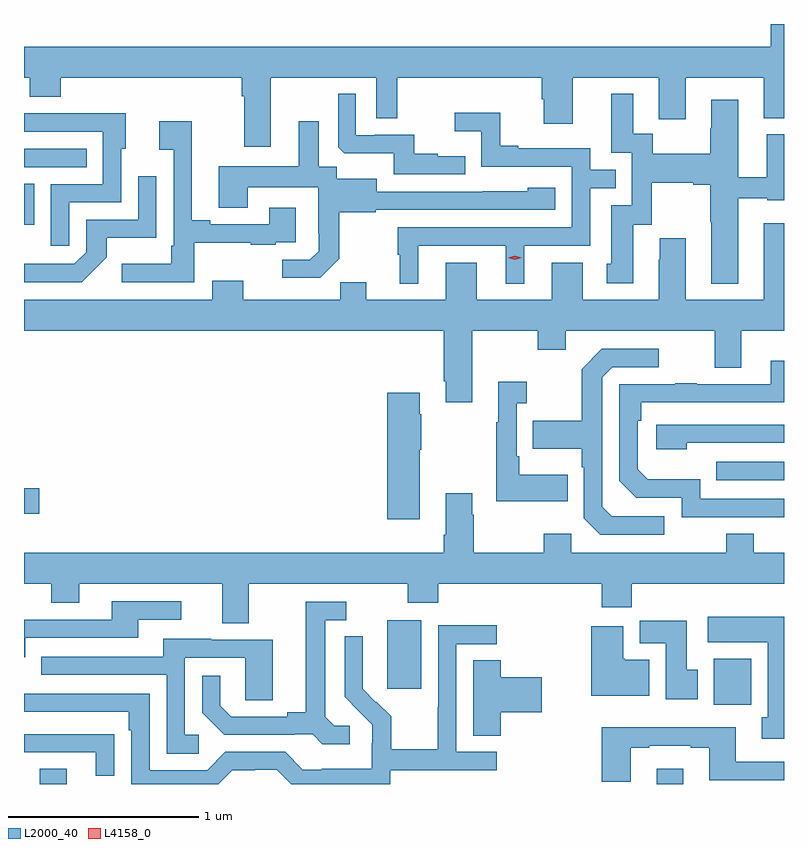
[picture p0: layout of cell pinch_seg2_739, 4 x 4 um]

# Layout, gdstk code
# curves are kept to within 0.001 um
import gdstk
lib = gdstk.Library(unit=1e-6, precision=1e-09)
def R(c, l, rs):  # rectangles x0, y0, x1, y1
    for r in rs: c.add(gdstk.rectangle(r[:2], r[2:], *l))
def P(c, l, *ps):  # polygons
    for p in ps: c.add(gdstk.Polygon(p, *l))
L2000_40 = (2000, 40)
L4158_0 = (4158, 0)

pinch_seg2_739 = lib.new_cell('pinch_seg2_739')
R(pinch_seg2_739, L2000_40, [(865.259,661.235,865.399,661.315), (868.505,661.235,868.645,661.315), (868.805,661.652,869.002,661.894), (867.086,661.737,867.265,662.098), (865.175,662.657,865.255,662.792), (868.819,662.835,869.175,662.931), (865.175,664.178,865.228,664.393), (865.175,664.482,865.505,664.578)])
P(pinch_seg2_739, L2000_40, [(866.473,664.952),(867.03,664.952),(867.03,664.738),(867.139,664.738),(867.139,664.952),(867.899,664.952),(867.899,664.839),(867.911,664.839),(867.911,664.71),(868.063,664.71),(868.063,664.952),(868.517,664.952),(868.517,664.734),(868.657,664.734),(868.657,664.952),(869.069,664.952),(869.069,664.739),(869.175,664.739),(869.175,665.235),(869.105,665.235),(869.105,665.116),(865.175,665.116),(865.175,664.952),(865.205,664.952),(865.205,664.853),(865.369,664.853),(865.369,664.952),(866.321,664.952),(866.321,664.856),(866.333,664.856),(866.333,664.59),(866.473,664.59)],
  [(867.497,664.54),(867.353,664.54),(867.353,664.552),(867.23,664.552),(867.23,664.653),(867.022,664.653),(867.022,664.65),(866.922,664.65),(866.922,664.867),(866.829,664.867),(866.829,664.587),(866.861,664.556),(867.12,664.556),(867.12,664.443),(867.497,664.443)],
  [(868.933,664.319),(869.088,664.319),(869.088,664.307),(869.175,664.307),(869.175,664.654),(869.084,664.654),(869.084,664.429),(868.933,664.429),(868.933,664.837),(868.793,664.837),(868.793,664.686),(868.786,664.686),(868.786,664.552),(868.483,664.552),(868.483,664.658),(868.381,664.658),(868.381,664.867),(868.265,664.867),(868.265,664.557),(868.374,664.557),(868.374,664.281),(868.265,664.281),(868.265,663.972),(868.241,663.972),(868.241,663.87),(868.381,663.87),(868.381,664.178),(868.479,664.178),(868.479,664.4),(868.697,664.4),(868.697,664.388),(868.786,664.388),(868.786,664.195),(868.793,664.195),(868.793,663.869),(868.933,663.869)],
  [(867.25,664.068),(867.71,664.068),(867.71,663.869),(867.808,663.869),(867.808,664.068),(868.155,664.068),(868.155,664.371),(868.289,664.371),(868.289,664.467),(868.155,664.467),(868.155,664.581),(867.775,664.581),(867.775,664.594),(867.681,664.594),(867.681,664.769),(867.441,664.769),(867.441,664.67),(867.582,664.67),(867.582,664.485),(868.059,664.485),(868.059,664.164),(867.141,664.164),(867.141,664.02),(867.152,664.02),(867.152,663.869),(867.25,663.869)],
  [(865.413,664.296),(865.686,664.296),(865.686,664.578),(865.711,664.578),(865.711,664.766),(865.493,664.766),(865.493,664.764),(865.175,664.764),(865.175,664.668),(865.59,664.668),(865.59,664.392),(865.317,664.392),(865.317,664.068),(865.413,664.068)],
  [(866.835,663.999),(866.835,664.245),(867.027,664.245),(867.027,664.257),(867.97,664.257),(867.97,664.372),(867.825,664.372),(867.825,664.354),(867.031,664.353),(867.031,664.42),(866.82,664.42),(866.82,664.484),(866.725,664.484),(866.725,664.723),(866.621,664.723),(866.621,664.486),(866.201,664.486),(866.201,664.267),(866.353,664.267),(866.353,664.376),(866.724,664.376),(866.724,664.135),(866.726,664.135),(866.726,664.04),(866.679,663.993),(866.535,663.993),(866.535,663.899),(866.735,663.899)],
  [(866.071,664.085),(866.369,664.085),(866.369,664.074),(866.501,664.074),(866.501,664.086),(866.605,664.086),(866.605,664.267),(866.465,664.267),(866.465,664.182),(866.155,664.182),(866.155,664.201),(866.059,664.201),(866.059,664.723),(865.887,664.723),(865.887,664.574),(865.962,664.574),(865.962,664.069),(865.95,664.069),(865.95,663.973),(865.689,663.973),(865.689,663.876),(866.071,663.876)],
  [(865.611,664.007),(865.611,664.109),(865.872,664.109),(865.872,664.435),(865.776,664.435),(865.776,664.206),(865.503,664.206),(865.503,664.035),(865.44,663.972),(865.216,663.972),(865.216,663.974),(865.175,663.974),(865.175,663.876),(865.48,663.876)],
  [(868.811,663.426),(868.951,663.426),(868.951,663.62),(869.175,663.62),(869.175,664.186),(869.069,664.186),(869.069,663.784),(868.657,663.784),(868.657,664.108),(868.52,664.108),(868.52,663.995),(868.517,663.995),(868.517,663.784),(868.117,663.784),(868.117,663.979),(867.953,663.979),(867.953,663.784),(867.559,663.784),(867.559,663.979),(867.395,663.979),(867.395,663.784),(866.977,663.784),(866.977,663.875),(866.839,663.875),(866.839,663.784),(866.329,663.784),(866.329,663.883),(866.165,663.883),(866.165,663.784),(865.175,663.784),(865.175,663.62),(867.383,663.62),(867.383,663.355),(867.395,663.355),(867.395,663.243),(867.535,663.243),(867.535,663.62),(867.88,663.62),(867.88,663.521),(868.027,663.521),(868.027,663.62),(868.811,663.62)],
  [(868.546,662.643),(868.269,662.643),(868.218,662.694),(868.218,663.375),(868.272,663.429),(868.516,663.429),(868.516,663.525),(868.215,663.525),(868.11,663.419),(868.11,663.147),(867.853,663.147),(867.853,662.999),(868.11,662.999),(868.11,662.903),(868.122,662.903),(868.122,662.634),(868.209,662.547),(868.546,662.547)],
  [(869.175,662.736),(868.734,662.736),(868.734,662.839),(868.457,662.839),(868.404,662.892),(868.404,663.146),(868.424,663.146),(868.424,663.243),(869.175,663.244),(869.175,663.463),(869.105,663.463),(869.105,663.339),(868.715,663.339),(868.715,663.344),(868.603,663.344),(868.603,663.339),(868.308,663.339),(868.308,662.832),(868.398,662.742),(868.638,662.742),(868.638,662.64),(869.175,662.64)],
  [(868.037,662.863),(867.781,662.863),(867.781,662.959),(867.768,662.959),(867.768,663.239),(867.82,663.239),(867.82,663.352),(867.671,663.352),(867.671,663.139),(867.66,663.139),(867.66,662.723),(868.037,662.723)],
  [(867.259,662.993),(867.267,662.993),(867.267,663.182),(867.259,663.182),(867.259,663.295),(867.086,663.295),(867.086,662.628),(867.259,662.628)],
  [(868.664,663.03),(869.175,663.03),(869.175,663.126),(868.503,663.126),(868.503,662.996),(868.664,662.996)],
  [(868.217,662.164),(868.373,662.164),(868.373,662.288),(869.175,662.288),(869.175,662.452),(869.017,662.452),(869.017,662.551),(868.87,662.551),(868.87,662.452),(868.056,662.452),(868.056,662.551),(867.91,662.551),(867.91,662.452),(867.543,662.452),(867.543,662.651),(867.535,662.651),(867.535,662.764),(867.395,662.764),(867.395,662.548),(867.383,662.548),(867.383,662.452),(865.175,662.452),(865.175,662.288),(865.318,662.288),(865.318,662.189),(865.465,662.189),(865.465,662.288),(866.219,662.288),(866.219,662.08),(866.359,662.08),(866.359,662.288),(867.196,662.288),(867.196,662.189),(867.356,662.189),(867.356,662.288),(868.217,662.288)],
  [(865.182,662.004),(865.777,662.004),(865.777,662.1),(866.002,662.1),(866.002,662.196),(865.637,662.196),(865.637,662.1),(865.175,662.1),(865.175,661.901),(865.182,661.901)],
  [(866.89,661.542),(866.808,661.542),(866.761,661.589),(866.761,662.097),(866.872,662.097),(866.872,662.193),(866.657,662.193),(866.657,661.613),(866.561,661.613),(866.561,661.59),(866.266,661.59),(866.209,661.647),(866.209,661.804),(866.112,661.804),(866.112,661.61),(866.228,661.494),(866.6,661.494),(866.6,661.497),(866.694,661.497),(866.746,661.445),(866.89,661.445)],
  [(869.175,662.116),(868.773,662.116),(868.773,661.982),(869.09,661.982),(869.09,661.586),(869.057,661.586),(869.057,661.473),(869.175,661.473)],
  [(868.72,661.836),(868.663,661.836),(868.663,662.094),(868.415,662.094),(868.415,661.976),(868.553,661.976),(868.553,661.68),(868.72,661.68)],
  [(866.271,661.308),(866.39,661.308),(866.39,661.311),(866.505,661.311),(866.581,661.235),(867.102,661.235),(867.102,661.308),(867.664,661.308),(867.664,661.404),(867.45,661.404),(867.45,661.971),(867.664,661.971),(867.664,662.07),(867.354,662.07),(867.354,661.64),(867.352,661.64),(867.352,661.417),(867.107,661.417),(867.107,661.591),(867.03,661.668),(867.027,661.665),(866.957,661.736),(866.958,662.012),(866.862,662.012),(866.862,661.694),(867.008,661.546),(867.008,661.449),(867.006,661.449),(867.006,661.315),(866.743,661.315),(866.743,661.311),(866.643,661.311),(866.55,661.404),(866.235,661.404),(866.139,661.308),(865.836,661.308),(865.836,661.71),(865.175,661.71),(865.175,661.614),(865.727,661.614),(865.727,661.517),(865.74,661.517),(865.74,661.235),(866.198,661.235)],
  [(868.465,661.888),(868.336,661.888),(868.336,661.894),(868.33,661.894),(868.33,662.065),(868.16,662.065),(868.16,661.7),(868.465,661.7)],
  [(866.095,661.494),(866.022,661.494),(866.022,661.899),(866.34,661.899),(866.34,661.675),(866.485,661.675),(866.485,661.995),(866.161,661.995),(866.161,661.999),(865.907,661.999),(865.907,661.905),(865.267,661.905),(865.267,661.809),(865.926,661.809),(865.926,661.393),(866.095,661.393)],
  [(867.683,661.613),(867.901,661.613),(867.901,661.796),(867.683,661.796),(867.683,661.886),(867.539,661.886),(867.539,661.489),(867.683,661.489)],
  [(868.369,661.425),(868.465,661.425),(868.465,661.437),(868.685,661.437),(868.685,661.425),(868.781,661.425),(868.781,661.256),(869.175,661.256),(869.175,661.353),(868.921,661.353),(868.921,661.534),(868.217,661.534),(868.217,661.248),(868.369,661.248)],
  [(865.649,661.496),(865.547,661.496),(865.547,661.497),(865.175,661.497),(865.175,661.401),(865.553,661.401),(865.553,661.278),(865.649,661.278)])
P(pinch_seg2_739, L4158_0, [(867.759,663.995),(867.723,664.005),(867.723,664.005),(867.723,664.005),(867.759,664.015),(867.795,664.005),(867.795,664.005),(867.795,664.005)])

lib.write_gds('pinch_seg2_739.gds')
